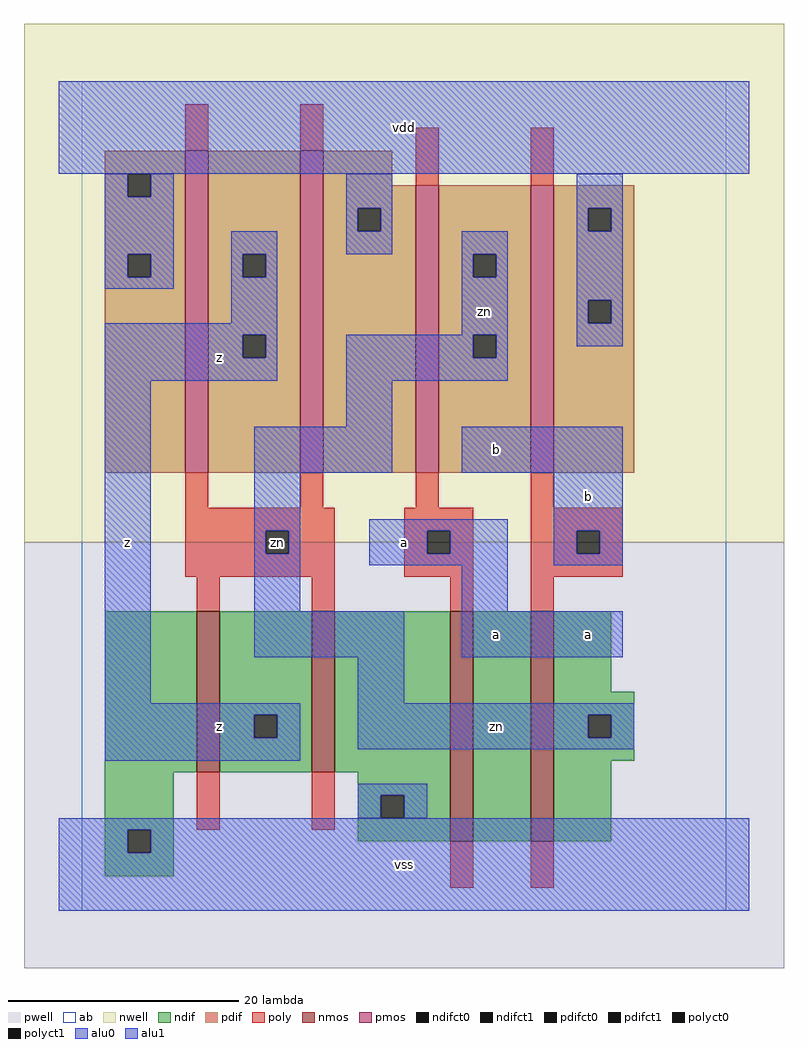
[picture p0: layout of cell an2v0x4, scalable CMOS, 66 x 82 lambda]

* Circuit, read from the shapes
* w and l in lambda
.subckt an2v0x4 a b vdd vss z zn
M1 z zn vss VSUBS nfet w=14 l=2 m=2
M2 n1 a vss VSUBS nfet w=20 l=2
M3 zn b n1 VSUBS nfet w=20 l=2
M4 z zn vdd n2 pfet w=28 l=2 m=2
M5 zn a vdd n2 pfet w=25 l=2
M6 vdd b zn n2 pfet w=25 l=2
.ends

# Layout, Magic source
magic
tech scmos
<< ab >>
rect 0 0 56 72
<< nwell >>
rect -5 32 61 77
<< pwell >>
rect -5 -5 61 32
<< poly >>
rect 9 66 11 70
rect 19 66 21 70
rect 29 63 31 68
rect 39 63 41 68
rect 9 35 11 38
rect 19 35 21 38
rect 29 35 31 38
rect 39 35 41 38
rect 9 33 22 35
rect 9 31 16 33
rect 18 31 22 33
rect 9 29 22 31
rect 28 33 34 35
rect 28 31 30 33
rect 32 31 34 33
rect 28 29 34 31
rect 10 26 12 29
rect 20 26 22 29
rect 32 26 34 29
rect 39 33 47 35
rect 39 31 43 33
rect 45 31 47 33
rect 39 29 47 31
rect 39 26 41 29
rect 10 7 12 12
rect 20 7 22 12
rect 32 2 34 6
rect 39 2 41 6
<< ndif >>
rect 2 12 10 26
rect 12 17 20 26
rect 12 15 15 17
rect 17 15 20 17
rect 12 12 20 15
rect 22 12 32 26
rect 2 7 8 12
rect 24 10 32 12
rect 24 8 26 10
rect 28 8 32 10
rect 2 5 4 7
rect 6 5 8 7
rect 24 6 32 8
rect 34 6 39 26
rect 41 19 46 26
rect 41 17 48 19
rect 41 15 44 17
rect 46 15 48 17
rect 41 13 48 15
rect 41 6 46 13
rect 2 3 8 5
<< pdif >>
rect 2 64 9 66
rect 2 62 4 64
rect 6 62 9 64
rect 2 57 9 62
rect 2 55 4 57
rect 6 55 9 57
rect 2 38 9 55
rect 11 57 19 66
rect 11 55 14 57
rect 16 55 19 57
rect 11 50 19 55
rect 11 48 14 50
rect 16 48 19 50
rect 11 38 19 48
rect 21 63 27 66
rect 21 61 29 63
rect 21 59 24 61
rect 26 59 29 61
rect 21 38 29 59
rect 31 57 39 63
rect 31 55 34 57
rect 36 55 39 57
rect 31 50 39 55
rect 31 48 34 50
rect 36 48 39 50
rect 31 38 39 48
rect 41 61 48 63
rect 41 59 44 61
rect 46 59 48 61
rect 41 53 48 59
rect 41 51 44 53
rect 46 51 48 53
rect 41 38 48 51
<< alu1 >>
rect -2 64 58 72
rect 13 57 17 59
rect 13 55 14 57
rect 16 55 17 57
rect 13 51 17 55
rect 2 50 17 51
rect 2 48 14 50
rect 16 48 17 50
rect 2 46 17 48
rect 2 18 6 46
rect 33 38 47 42
rect 25 33 37 34
rect 25 31 30 33
rect 32 31 37 33
rect 25 30 37 31
rect 41 33 47 38
rect 41 31 43 33
rect 45 31 47 33
rect 41 30 47 31
rect 33 26 37 30
rect 33 22 47 26
rect 2 17 19 18
rect 2 15 15 17
rect 17 15 19 17
rect 2 13 19 15
rect -2 7 58 8
rect -2 5 4 7
rect 6 5 58 7
rect -2 0 58 5
<< nmos >>
rect 10 12 12 26
rect 20 12 22 26
rect 32 6 34 26
rect 39 6 41 26
<< pmos >>
rect 9 38 11 66
rect 19 38 21 66
rect 29 38 31 63
rect 39 38 41 63
<< polyct0 >>
rect 16 31 18 33
<< polyct1 >>
rect 30 31 32 33
rect 43 31 45 33
<< ndifct0 >>
rect 26 8 28 10
rect 44 15 46 17
<< ndifct1 >>
rect 15 15 17 17
rect 4 5 6 7
<< pdifct0 >>
rect 4 62 6 64
rect 4 55 6 57
rect 24 59 26 61
rect 34 55 36 57
rect 34 48 36 50
rect 44 59 46 61
rect 44 51 46 53
<< pdifct1 >>
rect 14 55 16 57
rect 14 48 16 50
<< alu0 >>
rect 2 62 4 64
rect 6 62 8 64
rect 2 57 8 62
rect 23 61 27 64
rect 23 59 24 61
rect 26 59 27 61
rect 43 61 47 64
rect 43 59 44 61
rect 46 59 47 61
rect 2 55 4 57
rect 6 55 8 57
rect 2 54 8 55
rect 23 57 27 59
rect 33 57 37 59
rect 33 55 34 57
rect 36 55 37 57
rect 33 50 37 55
rect 23 48 34 50
rect 36 48 37 50
rect 43 53 47 59
rect 43 51 44 53
rect 46 51 47 53
rect 43 49 47 51
rect 23 46 37 48
rect 23 42 27 46
rect 15 38 27 42
rect 15 33 19 38
rect 15 31 16 33
rect 18 31 19 33
rect 15 26 19 31
rect 15 22 28 26
rect 24 18 28 22
rect 24 17 48 18
rect 24 15 44 17
rect 46 15 48 17
rect 24 14 48 15
rect 24 10 30 11
rect 24 8 26 10
rect 28 8 30 10
<< labels >>
rlabel polyct0 17 32 17 32 6 zn
rlabel alu0 36 16 36 16 6 zn
rlabel alu0 35 52 35 52 6 zn
rlabel alu1 4 32 4 32 6 z
rlabel alu1 12 16 12 16 6 z
rlabel alu1 12 48 12 48 6 z
rlabel alu1 28 4 28 4 6 vss
rlabel alu1 28 32 28 32 6 a
rlabel alu1 36 24 36 24 6 a
rlabel alu1 36 40 36 40 6 b
rlabel alu1 28 68 28 68 6 vdd
rlabel alu1 44 24 44 24 6 a
rlabel alu1 44 36 44 36 6 b
<< end >>
